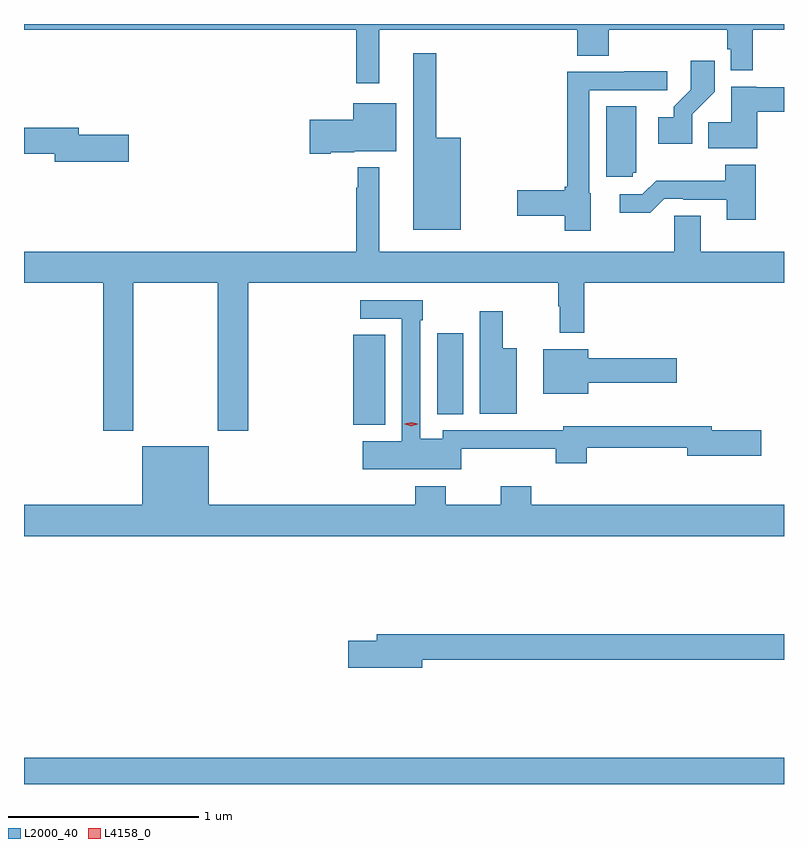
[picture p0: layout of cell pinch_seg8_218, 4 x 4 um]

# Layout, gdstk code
import gdstk
lib = gdstk.Library(unit=1e-6, precision=1e-09)
def R(c, l, rs):  # rectangles x0, y0, x1, y1
    for r in rs: c.add(gdstk.rectangle(r[:2], r[2:], *l))
def P(c, l, *ps):  # polygons
    for p in ps: c.add(gdstk.Polygon(p, *l))
L2000_40 = (2000, 40)
L4158_0 = (4158, 0)

pinch_seg8_218 = lib.new_cell('pinch_seg8_218')
R(pinch_seg8_218, L2000_40, [(719.073,1105.871,723.073,1106.008), (720.806,1107.761,720.973,1108.235), (721.247,1107.817,721.384,1108.243)])
P(pinch_seg8_218, L2000_40, [(720.943,1109.84),(721.985,1109.84),(721.985,1109.704),(722.15,1109.704),(722.15,1109.84),(722.773,1109.84),(722.773,1109.739),(722.793,1109.739),(722.793,1109.627),(722.909,1109.627),(722.909,1109.84),(723.073,1109.84),(723.073,1109.871),(719.073,1109.871),(719.073,1109.84),(720.822,1109.84),(720.822,1109.559),(720.943,1109.559)],
  [(721.372,1109.272),(721.243,1109.272),(721.243,1109.716),(721.121,1109.716),(721.121,1108.787),(721.372,1108.787)],
  [(722.589,1109.395),(722.708,1109.514),(722.708,1109.677),(722.583,1109.677),(722.583,1109.525),(722.492,1109.435),(722.492,1109.38),(722.412,1109.38),(722.412,1109.24),(722.589,1109.24)],
  [(722.056,1108.98),(722.049,1108.98),(722.049,1109.523),(722.458,1109.523),(722.458,1109.622),(722.233,1109.622),(722.233,1109.619),(721.933,1109.619),(721.933,1109.015),(721.92,1109.015),(721.92,1108.997),(721.668,1108.997),(721.668,1108.862),(721.92,1108.862),(721.92,1108.784),(722.056,1108.784)],
  [(722.932,1109.41),(723.073,1109.41),(723.073,1109.539),(722.928,1109.539),(722.928,1109.542),(722.795,1109.542),(722.795,1109.354),(722.674,1109.354),(722.674,1109.216),(722.932,1109.216)],
  [(720.688,1109.195),(720.81,1109.195),(720.81,1109.201),(721.033,1109.201),(721.033,1109.455),(720.806,1109.455),(720.806,1109.367),(720.576,1109.367),(720.576,1109.189),(720.688,1109.189)],
  [(722.277,1109.088),(722.296,1109.088),(722.296,1109.437),(722.138,1109.437),(722.138,1109.067),(722.277,1109.067)],
  [(719.623,1109.288),(719.362,1109.288),(719.362,1109.324),(719.073,1109.324),(719.073,1109.188),(719.234,1109.188),(719.234,1109.146),(719.623,1109.146)],
  [(722.924,1109.131),(722.764,1109.131),(722.764,1109.047),(722.401,1109.047),(722.328,1108.974),(722.208,1108.974),(722.208,1108.877),(722.369,1108.877),(722.442,1108.95),(722.542,1108.95),(722.542,1108.947),(722.771,1108.947),(722.771,1108.842),(722.924,1108.842)],
  [(719.649,1108.508),(720.094,1108.508),(720.094,1107.729),(720.254,1107.729),(720.254,1108.508),(721.885,1108.508),(721.885,1108.385),(721.893,1108.385),(721.893,1108.245),(722.021,1108.245),(722.021,1108.508),(723.073,1108.508),(723.073,1108.672),(722.635,1108.672),(722.635,1108.862),(722.496,1108.862),(722.496,1108.672),(720.943,1108.672),(720.943,1109.116),(720.829,1109.116),(720.829,1109.009),(720.822,1109.009),(720.822,1108.672),(719.073,1108.672),(719.073,1108.508),(719.489,1108.508),(719.489,1107.729),(719.649,1107.729)],
  [(721.374,1107.635),(721.871,1107.635),(721.871,1107.56),(722.036,1107.56),(722.036,1107.642),(722.564,1107.642),(722.564,1107.599),(722.953,1107.599),(722.953,1107.734),(722.692,1107.734),(722.692,1107.753),(721.911,1107.753),(721.911,1107.732),(721.278,1107.732),(721.278,1107.688),(721.158,1107.688),(721.158,1108.313),(721.171,1108.313),(721.171,1108.416),(720.843,1108.416),(720.843,1108.32),(721.062,1108.32),(721.062,1107.676),(720.855,1107.676),(720.855,1107.527),(721.374,1107.527)],
  [(721.666,1108.165),(721.594,1108.165),(721.594,1108.36),(721.472,1108.36),(721.472,1107.821),(721.666,1107.821)],
  [(722.044,1107.983),(722.509,1107.983),(722.509,1108.113),(722.044,1108.113),(722.044,1108.159),(721.805,1108.159),(721.805,1107.926),(722.044,1107.926)],
  [(723.073,1107.34),(721.742,1107.34),(721.742,1107.439),(721.582,1107.439),(721.582,1107.34),(721.293,1107.34),(721.293,1107.439),(721.133,1107.439),(721.133,1107.34),(720.046,1107.34),(720.046,1107.649),(719.696,1107.649),(719.696,1107.34),(719.073,1107.34),(719.073,1107.176),(723.073,1107.176)],
  [(721.168,1106.524),(723.073,1106.524),(723.073,1106.66),(720.929,1106.66),(720.929,1106.624),(720.78,1106.624),(720.78,1106.482),(721.168,1106.482)])
P(pinch_seg8_218, L4158_0, [(721.111,1107.755),(721.076,1107.765),(721.076,1107.765),(721.076,1107.766),(721.111,1107.775),(721.146,1107.766),(721.146,1107.765),(721.146,1107.765)])

lib.write_gds('pinch_seg8_218.gds')
